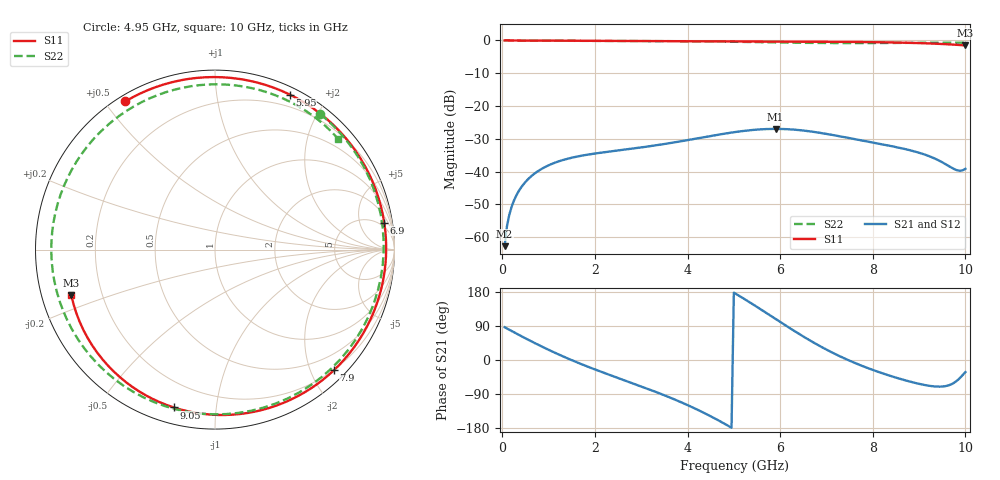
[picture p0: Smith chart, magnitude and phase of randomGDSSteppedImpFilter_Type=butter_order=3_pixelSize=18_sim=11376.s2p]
! freq	dB(S11)	phase(S11)	dB(S12)	phase(S12)
!  dB(S21)	phase(S21)	dB(S22)	phase(S22)
!S-par simulation data
#  GHz  S  DB  R 50
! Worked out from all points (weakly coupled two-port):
!   200 points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, 50 MHz to 10 GHz, reference 50 ohm
!   highest |S21| = -26.98 dB at 5.9 GHz (marker M1); lowest = -62.8 dB at 50 MHz (marker M2)
!   lowest |S11| = -1.5 dB at 10 GHz (marker M3), VSWR 11.50, Z = 4.45 - j7.71 ohm
!   |S11| at or under -10 dB: nowhere
!   |S22| runs from -0.8 to 0.0 dB; largest |S21 - S12| = 0
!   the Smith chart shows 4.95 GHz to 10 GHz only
!   S11 on the Smith chart (normalised r, x): 4.95 GHz: 0.02, +0.56; 5.95 GHz: 0.07, +1.59; 6.9 GHz: 3, +12; 7.9 GHz: 0.19, -2.38; 9.05 GHz: 0.08, -0.77; 10 GHz: 0.09, -0.15
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0.05  -0.00 -2.5  -62.76 86.5  -62.76 86.5  -0.01 -4.2
0.2  -0.01 -10.0  -50.80 76.6  -50.80 76.6  -0.02 -16.5
0.5  -0.03 -24.7  -43.17 57.2  -43.17 57.2  -0.05 -40.7
1.1  -0.07 -53.9  -37.48 21.2  -37.48 21.2  -0.10 -84.9
1.75  -0.11 -84.7  -35.06 -13.0  -35.06 -13.0  -0.13 -125.9
2.55  -0.15 -121.7  -33.47 -49.6  -33.47 -49.6  -0.15 -169.2
3.4  -0.20 -160.9  -31.81 -88.2  -31.81 -88.2  -0.20 147.4
4.25  -0.26 157.8  -29.78 -133.2  -29.78 -133.2  -0.28 99.7
4.95  -0.31 121.1  -28.11 -178.7  -28.11 -178.7  -0.39 52.2
5.05  -0.32 115.7  -27.90 174.1  -27.90 174.1  -0.41 44.6
5.5  -0.34 90.4  -27.20 140.1  -27.20 140.1  -0.52 7.7
5.9  -0.36 67.2  -26.98 108.4  -26.98 108.4  -0.61 -27.7
5.95  -0.36 64.3  -26.98 104.5  -26.98 104.5  -0.63 -32.2
6.35  -0.38 40.9  -27.27 73.3  -27.27 73.3  -0.71 -68.4
6.7  -0.39 20.5  -27.84 47.6  -27.84 47.6  -0.76 -99.0
6.9  -0.40 9.0  -28.27 33.9  -28.27 33.9  -0.78 -115.7
7.4  -0.44 -18.8  -29.54 3.5  -29.54 3.5  -0.80 -154.5
7.9  -0.50 -45.4  -30.87 -21.7  -30.87 -21.7  -0.79 170.4
8.35  -0.59 -68.5  -32.09 -40.8  -32.09 -40.8  -0.77 141.1
9.05  -0.83 -104.6  -34.47 -64.3  -34.47 -64.3  -0.72 98.3
9.5  -1.08 -129.7  -37.16 -70.0  -37.16 -70.0  -0.69 71.7
10  -1.51 -162.3  -39.16 -32.0  -39.16 -32.0  -0.70 42.0
